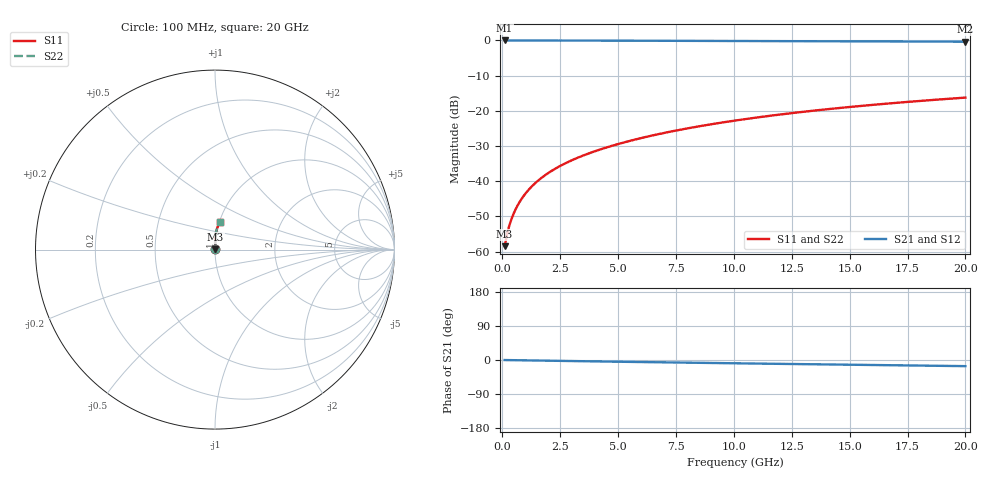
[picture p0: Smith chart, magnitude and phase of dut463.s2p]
! Touchstone file exported from HFSS 2024.1.0
!  File:  C:/UserFiles/LocalFiles/RDL_TSV_Batchsim/temp_RDL_bottom_463_1779685622.aedt
!  Generated:  01:09:36 PM May 25, 2026
!  Design:  RDL_bottom
!  Project:  temp_RDL_bottom_463_1779685622
!  Setup:  Setup1
!  Solution:  Sweep
! Variables:
!  dtsv = 10.80580581um
!  hbump = 3um
!  htsv = 93.53um
!  ldown = 228.84um
!  lrdl = 100um
!  p = 40
!  p1 = 42.89um
!  rhole = 1um
!  t = 450um
!  tdown = 4.71um
!  trdl = 3.915915916um
!  wdown = 22.28um
!  wrdl = 20um
# GHz S MA R 50.000000
! Terminal data exported
! Port[1] = RDL1_T1
! Port[2] = RDL1_T2
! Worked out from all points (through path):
!   200 points, 100 MHz to 20 GHz, reference 50 ohm
!   highest |S21| = -0.01 dB at 100 MHz (marker M1); lowest = -0.4 dB at 20 GHz (marker M2)
!   group delay of S21, straight-line fit = 2.22 ps
!   lowest |S11| = -58.4 dB at 100 MHz (marker M3), VSWR 1.00, Z = 50.1 + j0.0739 ohm
!   |S11| at or under -10 dB: start of sweep to end of sweep
!   |S22| runs from -58.4 to -16.2 dB; largest |S21 - S12| = 6.2e-15
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0.1  0.001197 38.1  0.9991 -0.1  0.9991 -0.1  0.001197 38.1
! Gamma 0 0 0 0
! Port Impedance 50 0 50 0
0.2  0.001743 54.8  0.999 -0.2  0.999 -0.2  0.001743 54.8
0.3  0.002328 63.2  0.9989 -0.3  0.9989 -0.3  0.002328 63.2
0.4  0.002926 68.4  0.9988 -0.4  0.9988 -0.4  0.002926 68.4
0.5  0.003534 72.0  0.9988 -0.5  0.9988 -0.5  0.003534 72.0
0.6  0.004152 74.6  0.9987 -0.6  0.9987 -0.6  0.004152 74.6
0.8  0.005408 78.2  0.9986 -0.8  0.9986 -0.8  0.005408 78.2
1.1  0.007324 81.5  0.9984 -1.0  0.9984 -1.0  0.007324 81.5
1.5  0.009913 83.9  0.9981 -1.4  0.9981 -1.4  0.009913 83.9
1.8  0.01187 85.1  0.9978 -1.7  0.9978 -1.7  0.01187 85.1
2.1  0.01384 86.0  0.9975 -2.0  0.9975 -2.0  0.01384 86.0
2.7  0.01783 87.3  0.9966 -2.5  0.9966 -2.5  0.01783 87.3
3.5  0.02324 88.4  0.9953 -3.2  0.9953 -3.2  0.02324 88.4
4.2  0.02809 89.0  0.994 -3.9  0.994 -3.9  0.02809 89.0
5  0.03376 89.5  0.9923 -4.6  0.9923 -4.6  0.03376 89.5
6.8  0.0471 89.8  0.9883 -6.1  0.9883 -6.1  0.0471 89.8
8.4  0.05953 89.5  0.9846 -7.4  0.9846 -7.4  0.05953 89.5
10.1  0.07316 88.6  0.9808 -8.7  0.9808 -8.7  0.07316 88.6
11.7  0.08624 87.5  0.9772 -10.0  0.9772 -10.0  0.08624 87.5
13.4  0.1002 86.2  0.9736 -11.3  0.9736 -11.3  0.1002 86.2
16.7  0.1274 83.3  0.9667 -13.8  0.9667 -13.8  0.1274 83.3
20  0.1541 80.3  0.96 -16.2  0.96 -16.2  0.1541 80.3
